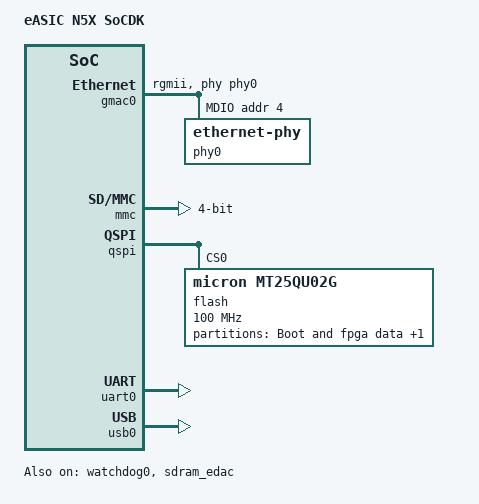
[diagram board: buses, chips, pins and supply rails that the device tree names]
// SPDX-License-Identifier:     GPL-2.0
/*
 * Copyright (C) 2021, Intel Corporation
 */
#include "socfpga_agilex.dtsi"

/ {
	model = "eASIC N5X SoCDK";
	compatible = "intel,n5x-socdk", "intel,socfpga-agilex";

	aliases {
		serial0 = &uart0;
		ethernet0 = &gmac0;
		ethernet1 = &gmac1;
		ethernet2 = &gmac2;
	};

	chosen {
		stdout-path = "serial0:115200n8";
	};

	memory@80000000 {
		device_type = "memory";
		/* We expect the bootloader to fill in the reg */
		reg = <0 0x80000000 0 0>;
	};

	soc {
		sdram_edac: memory-controller@f87f8000 {
			compatible = "snps,ddrc-3.80a";
			reg = <0xf87f8000 0x400>;
			interrupts = <0 175 4>;
			status = "okay";
		};
	};
};

&clkmgr {
	compatible = "intel,easic-n5x-clkmgr";
};

&gmac0 {
	status = "okay";
	phy-mode = "rgmii";
	phy-handle = <&phy0>;

	max-frame-size = <9000>;

	mdio0 {
		#address-cells = <1>;
		#size-cells = <0>;
		compatible = "snps,dwmac-mdio";
		phy0: ethernet-phy@0 {
			reg = <4>;

			txd0-skew-ps = <0>; /* -420ps */
			txd1-skew-ps = <0>; /* -420ps */
			txd2-skew-ps = <0>; /* -420ps */
			txd3-skew-ps = <0>; /* -420ps */
			rxd0-skew-ps = <420>; /* 0ps */
			rxd1-skew-ps = <420>; /* 0ps */
			rxd2-skew-ps = <420>; /* 0ps */
			rxd3-skew-ps = <420>; /* 0ps */
			txen-skew-ps = <0>; /* -420ps */
			txc-skew-ps = <900>; /* 0ps */
			rxdv-skew-ps = <420>; /* 0ps */
			rxc-skew-ps = <1680>; /* 780ps */
		};
	};
};

&mmc {
	status = "okay";
	cap-sd-highspeed;
	broken-cd;
	bus-width = <4>;
	clk-phase-sd-hs = <0>, <135>;
};

&osc1 {
	clock-frequency = <25000000>;
};

&qspi {
	status = "okay";
	flash@0 {
		#address-cells = <1>;
		#size-cells = <1>;
		compatible = "micron,mt25qu02g", "jedec,spi-nor";
		reg = <0>;
		spi-max-frequency = <100000000>;

		m25p,fast-read;
		cdns,page-size = <256>;
		cdns,block-size = <16>;
		cdns,read-delay = <2>;
		cdns,tshsl-ns = <50>;
		cdns,tsd2d-ns = <50>;
		cdns,tchsh-ns = <4>;
		cdns,tslch-ns = <4>;

		partitions {
			compatible = "fixed-partitions";
			#address-cells = <1>;
			#size-cells = <1>;

			qspi_boot: partition@0 {
				label = "Boot and fpga data";
				reg = <0x0 0x03FE0000>;
			};

			qspi_rootfs: partition@3FE0000 {
				label = "Root Filesystem - JFFS2";
				reg = <0x03FE0000 0x0C020000>;
			};
		};
	};
};

&uart0 {
	status = "okay";
};

&usb0 {
	status = "okay";
	disable-over-current;
};

&watchdog0 {
	status = "okay";
};
